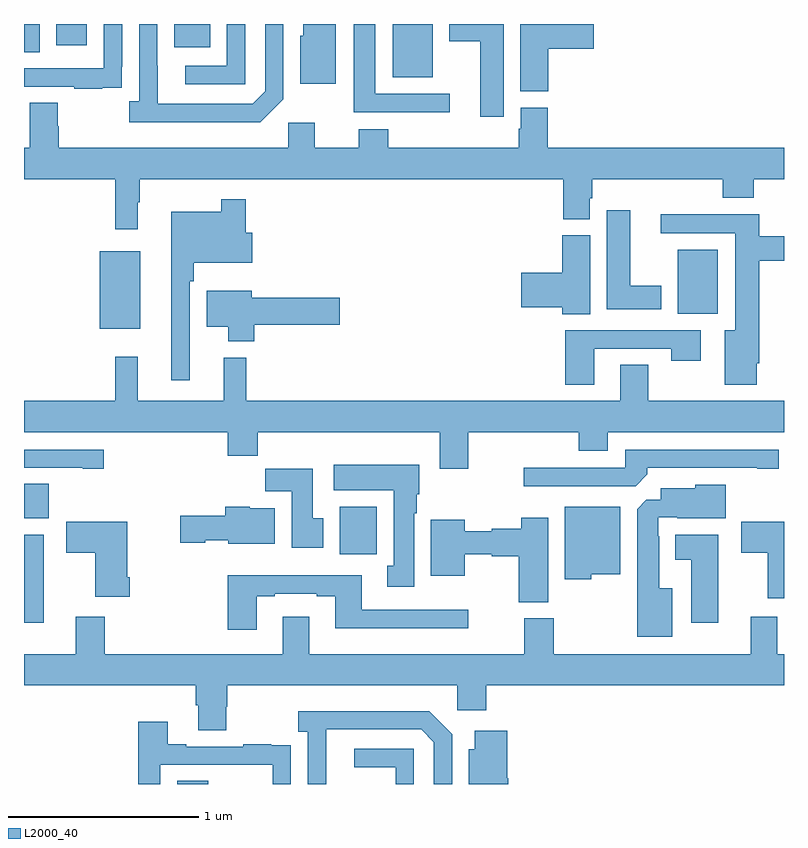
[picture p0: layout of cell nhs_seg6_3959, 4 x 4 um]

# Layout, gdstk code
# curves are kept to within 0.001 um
import gdstk
lib = gdstk.Library(unit=1e-6, precision=1e-09)
def R(c, l, rs):  # rectangles x0, y0, x1, y1
    for r in rs: c.add(gdstk.rectangle(r[:2], r[2:], *l))
def P(c, l, *ps):  # polygons
    for p in ps: c.add(gdstk.Polygon(p, *l))
L2000_40 = (2000, 40)

nhs_seg6_3959 = lib.new_cell('nhs_seg6_3959')
R(nhs_seg6_3959, L2000_40, [(345.806,929.5,345.97,929.516), (345,930.348,345.103,930.811), (346.661,930.708,346.857,930.958), (345,930.9,345.131,931.079), (345.398,931.895,345.613,932.305), (348.44,931.976,348.652,932.311), (346.94,933.221,347.152,933.5), (345,933.352,345.082,933.5), (345.791,933.377,345.979,933.5), (345.17,933.387,345.331,933.5)])
P(nhs_seg6_3959, L2000_40, [(347.524,933.5),(347.237,933.5),(347.237,933.41),(347.402,933.41),(347.402,933.012),(347.524,933.012)],
  [(347.242,933.132),(346.849,933.132),(346.849,933.5),(346.736,933.5),(346.736,933.035),(347.242,933.035)],
  [(346.642,933.5),(346.469,933.5),(346.469,933.438),(346.454,933.438),(346.454,933.185),(346.642,933.185)],
  [(345.413,933.165),(345.515,933.165),(345.515,933.274),(345.516,933.274),(345.516,933.5),(345.42,933.5),(345.42,933.267),(345,933.267),(345,933.171),(345.265,933.171),(345.265,933.159),(345.413,933.159)],
  [(346.365,933.105),(346.365,933.5),(346.269,933.5),(346.269,933.147),(346.203,933.081),(345.703,933.081),(345.702,933.5),(345.606,933.5),(345.606,933.094),(345.555,933.094),(345.555,932.984),(346.244,932.984)],
  [(346.164,933.5),(346.068,933.5),(346.068,933.279),(345.849,933.279),(345.849,933.183),(346.164,933.183)],
  [(347.759,933.371),(347.999,933.371),(347.999,933.5),(347.612,933.5),(347.612,933.145),(347.759,933.145)],
  [(345.598,932.561),(345.61,932.561),(345.61,932.684),(347.837,932.684),(347.837,932.473),(347.977,932.473),(347.977,932.583),(347.99,932.583),(347.99,932.684),(348.677,932.684),(348.677,932.585),(348.842,932.585),(348.842,932.684),(349,932.684),(349,932.848),(347.756,932.848),(347.756,933.06),(347.615,933.06),(347.615,932.949),(347.603,932.949),(347.603,932.848),(346.916,932.848),(346.916,932.947),(346.763,932.947),(346.763,932.848),(346.531,932.848),(346.531,932.98),(346.392,932.98),(346.392,932.848),(345.182,932.848),(345.182,932.961),(345.177,932.961),(345.177,933.086),(345.029,933.086),(345.029,932.848),(345,932.848),(345,932.684),(345.481,932.684),(345.481,932.421),(345.598,932.421)],
  [(345.873,932.147),(345.893,932.147),(345.893,932.243),(346.201,932.243),(346.201,932.401),(346.166,932.401),(346.166,932.578),(346.038,932.578),(346.038,932.512),(345.776,932.512),(345.776,931.626),(345.873,931.626)],
  [(348.355,932.122),(348.19,932.122),(348.19,932.521),(348.068,932.521),(348.068,932),(348.355,932)],
  [(348.856,931.714),(348.869,931.714),(348.869,932.254),(349,932.254),(349,932.383),(348.869,932.383),(348.869,932.498),(348.351,932.498),(348.351,932.4),(348.743,932.4),(348.743,931.888),(348.689,931.888),(348.689,931.602),(348.856,931.602)],
  [(347.98,932.388),(347.834,932.388),(347.834,932.192),(347.616,932.192),(347.616,932.009),(347.834,932.009),(347.834,931.972),(347.98,931.972)],
  [(346.211,931.918),(346.663,931.918),(346.663,932.06),(346.198,932.06),(346.198,932.095),(345.962,932.095),(345.962,931.907),(346.076,931.907),(346.076,931.829),(346.211,931.829)],
  [(348.001,931.791),(348.406,931.791),(348.406,931.728),(348.562,931.728),(348.562,931.887),(347.849,931.887),(347.849,931.602),(348.001,931.602)],
  [(346.052,931.744),(346.052,931.516),(345.599,931.516),(345.599,931.75),(345.481,931.75),(345.481,931.516),(345,931.516),(345,931.352),(346.073,931.352),(346.073,931.228),(346.229,931.228),(346.229,931.352),(347.189,931.352),(347.189,931.158),(347.337,931.158),(347.337,931.352),(347.921,931.352),(347.921,931.253),(348.073,931.253),(348.073,931.352),(349,931.352),(349,931.516),(348.285,931.516),(348.285,931.706),(348.137,931.706),(348.137,931.516),(346.169,931.516),(346.169,931.744)],
  [(345.421,931.26),(345,931.26),(345,931.164),(345.308,931.164),(345.308,931.159),(345.421,931.159)],
  [(348.281,931.13),(348.281,931.164),(348.86,931.164),(348.86,931.159),(348.973,931.159),(348.973,931.26),(348.165,931.26),(348.165,931.164),(347.631,931.164),(347.631,931.068),(348.219,931.068)],
  [(347.053,930.926),(347.068,930.926),(347.068,931.026),(347.08,931.026),(347.08,931.18),(346.629,931.18),(346.629,931.046),(346.946,931.046),(346.946,930.649),(346.913,930.649),(346.913,930.537),(347.053,930.537)],
  [(346.576,930.9),(346.519,930.9),(346.519,931.159),(346.27,931.159),(346.27,931.04),(346.409,931.04),(346.409,930.744),(346.576,930.744)],
  [(348.412,930.529),(348.343,930.529),(348.343,930.803),(348.339,930.803),(348.339,930.903),(348.439,930.903),(348.439,930.899),(348.694,930.899),(348.694,931.075),(348.534,931.075),(348.534,931.057),(348.35,931.057),(348.35,930.996),(348.276,930.996),(348.227,930.947),(348.227,930.275),(348.412,930.275)],
  [(347.985,930.605),(348.139,930.605),(348.139,930.958),(347.846,930.958),(347.846,930.578),(347.985,930.578)],
  [(346.321,930.952),(346.188,930.952),(346.188,930.958),(346.058,930.958),(346.058,930.912),(345.822,930.912),(345.822,930.77),(345.954,930.77),(345.954,930.782),(346.074,930.782),(346.074,930.764),(346.321,930.764)],
  [(347.758,930.901),(347.617,930.901),(347.617,930.843),(347.462,930.843),(347.462,930.829),(347.32,930.829),(347.32,930.892),(347.141,930.892),(347.141,930.596),(347.32,930.596),(347.32,930.708),(347.462,930.708),(347.462,930.7),(347.603,930.7),(347.603,930.457),(347.758,930.457)],
  [(345.557,930.589),(345.544,930.589),(345.544,930.88),(345.222,930.88),(345.222,930.718),(345.374,930.718),(345.374,930.485),(345.557,930.485)],
  [(349,930.88),(348.774,930.88),(348.774,930.718),(348.914,930.718),(348.914,930.477),(349,930.477)],
  [(348.655,930.811),(348.428,930.811),(348.428,930.68),(348.512,930.68),(348.512,930.348),(348.655,930.348)],
  [(346.225,930.489),(346.321,930.489),(346.321,930.501),(346.541,930.501),(346.541,930.489),(346.637,930.489),(346.637,930.32),(347.338,930.32),(347.338,930.417),(346.777,930.417),(346.777,930.598),(346.073,930.598),(346.073,930.312),(346.225,930.312)],
  [(348.824,930.379),(348.824,930.184),(347.787,930.184),(347.787,930.372),(347.632,930.372),(347.632,930.184),(346.501,930.184),(346.501,930.379),(346.361,930.379),(346.361,930.184),(345.425,930.184),(345.425,930.379),(345.272,930.379),(345.272,930.184),(345,930.184),(345,930.02),(345.905,930.02),(345.905,929.914),(345.917,929.914),(345.917,929.782),(346.065,929.782),(346.065,929.907),(346.07,929.907),(346.07,930.02),(347.28,930.02),(347.28,929.889),(347.432,929.889),(347.432,930.02),(349,930.02),(349,930.184),(348.964,930.184),(348.964,930.379)],
  [(346.59,929.587),(346.591,929.787),(347.091,929.787),(347.157,929.721),(347.157,929.5),(347.253,929.5),(347.253,929.763),(347.132,929.884),(346.443,929.884),(346.443,929.774),(346.494,929.774),(346.494,929.5),(346.59,929.5)],
  [(345.717,929.601),(346.308,929.601),(346.308,929.5),(346.404,929.5),(346.404,929.594),(346.403,929.594),(346.403,929.703),(346.301,929.703),(346.301,929.71),(346.153,929.71),(346.153,929.697),(345.853,929.697),(345.853,929.71),(345.757,929.71),(345.757,929.827),(345.601,929.827),(345.601,929.5),(345.717,929.5)],
  [(347.549,929.53),(347.543,929.53),(347.543,929.779),(347.372,929.779),(347.372,929.683),(347.342,929.683),(347.342,929.5),(347.549,929.5)],
  [(347.052,929.685),(346.737,929.685),(346.737,929.589),(346.956,929.589),(346.956,929.5),(347.052,929.5)])

lib.write_gds('nhs_seg6_3959.gds')
